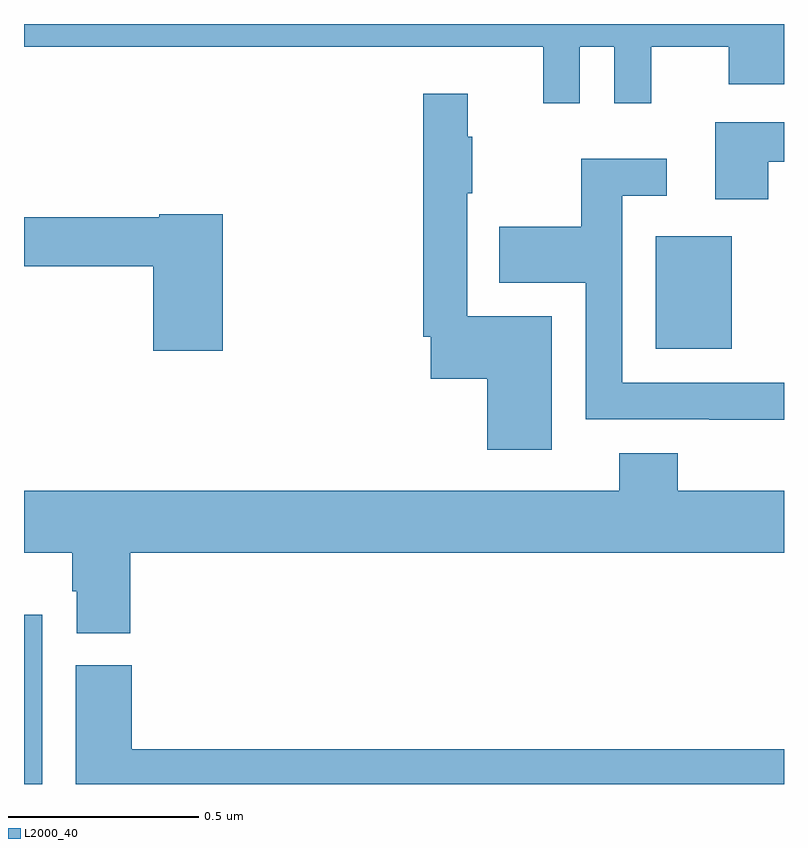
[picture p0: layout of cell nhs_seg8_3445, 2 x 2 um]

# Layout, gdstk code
import gdstk
lib = gdstk.Library(unit=1e-6, precision=1e-09)
def R(c, l, rs):  # rectangles x0, y0, x1, y1
    for r in rs: c.add(gdstk.rectangle(r[:2], r[2:], *l))
def P(c, l, *ps):  # polygons
    for p in ps: c.add(gdstk.Polygon(p, *l))
L2000_40 = (2000, 40)

nhs_seg8_3445 = lib.new_cell('nhs_seg8_3445')
R(nhs_seg8_3445, L2000_40, [(157,1107.9,157.048,1108.345), (158.663,1109.045,158.863,1109.341)])
P(nhs_seg8_3445, L2000_40, [(158.463,1109.84),(158.553,1109.84),(158.553,1109.691),(158.651,1109.691),(158.651,1109.84),(158.855,1109.84),(158.855,1109.741),(159,1109.741),(159,1109.9),(157,1109.9),(157,1109.84),(158.366,1109.84),(158.366,1109.691),(158.463,1109.691)],
  [(158.389,1109.131),(158.166,1109.131),(158.166,1109.455),(158.179,1109.455),(158.179,1109.603),(158.168,1109.603),(158.168,1109.716),(158.05,1109.716),(158.05,1109.077),(158.07,1109.077),(158.07,1108.966),(158.219,1108.966),(158.219,1108.779),(158.389,1108.779)],
  [(158.959,1109.537),(159,1109.537),(159,1109.641),(158.819,1109.641),(158.819,1109.439),(158.959,1109.439)],
  [(159,1108.956),(158.574,1108.956),(158.574,1109.448),(158.692,1109.448),(158.692,1109.545),(158.466,1109.545),(158.466,1109.367),(158.251,1109.367),(158.251,1109.219),(158.478,1109.219),(158.478,1108.86),(158.803,1108.86),(158.803,1108.859),(159,1108.859)],
  [(157.523,1109.4),(157.356,1109.4),(157.356,1109.392),(157,1109.392),(157,1109.263),(157.34,1109.263),(157.34,1109.04),(157.523,1109.04)],
  [(157.28,1108.508),(159,1108.508),(159,1108.672),(158.72,1108.672),(158.72,1108.771),(158.567,1108.771),(158.567,1108.672),(157,1108.672),(157,1108.508),(157.127,1108.508),(157.127,1108.407),(157.139,1108.407),(157.139,1108.297),(157.28,1108.297)],
  [(159,1107.992),(157.283,1107.992),(157.283,1108.212),(157.136,1108.212),(157.136,1107.9),(159,1107.9)])

lib.write_gds('nhs_seg8_3445.gds')
